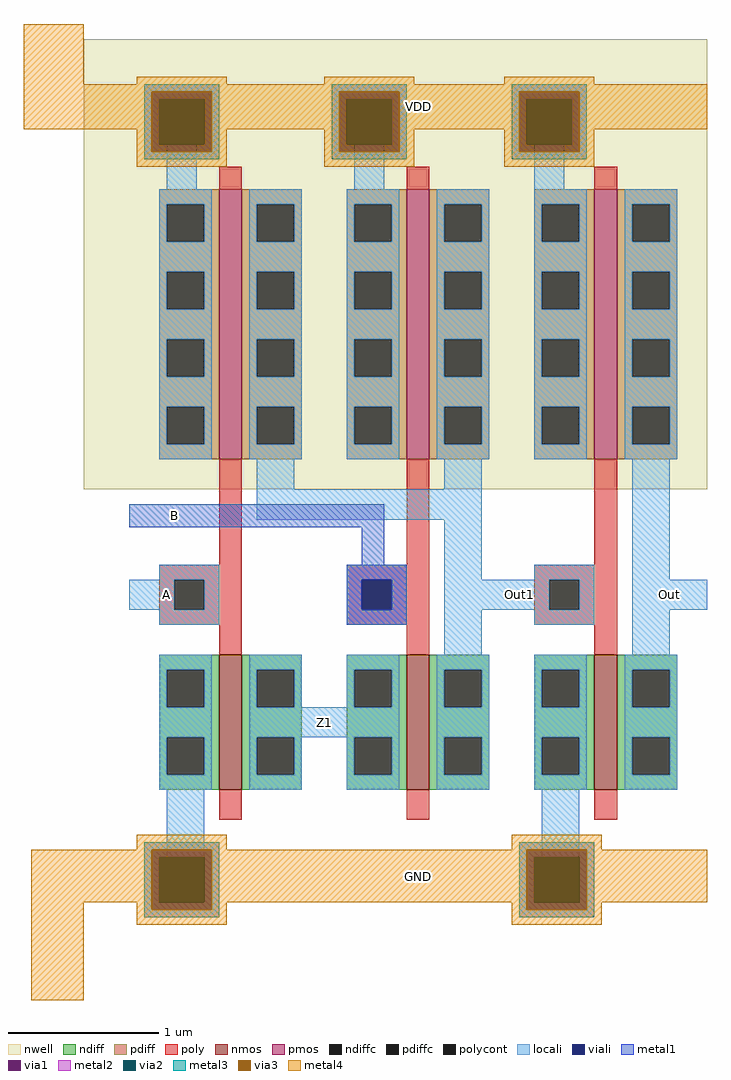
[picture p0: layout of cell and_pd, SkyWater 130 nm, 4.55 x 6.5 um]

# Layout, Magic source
magic
tech sky130A
<< nwell >>
rect -80 -35 335 265
<< nmos >>
rect 10 -235 25 -145
rect 135 -235 150 -145
rect 260 -235 275 -145
<< pmos >>
rect 10 -15 25 165
rect 135 -15 150 165
rect 260 -15 275 165
<< ndiff >>
rect -30 -155 10 -145
rect -30 -180 -25 -155
rect 0 -180 10 -155
rect -30 -200 10 -180
rect -30 -225 -25 -200
rect 0 -225 10 -200
rect -30 -235 10 -225
rect 25 -155 65 -145
rect 25 -180 35 -155
rect 60 -180 65 -155
rect 25 -200 65 -180
rect 25 -225 35 -200
rect 60 -225 65 -200
rect 25 -235 65 -225
rect 95 -155 135 -145
rect 95 -180 100 -155
rect 125 -180 135 -155
rect 95 -200 135 -180
rect 95 -225 100 -200
rect 125 -225 135 -200
rect 95 -235 135 -225
rect 150 -155 190 -145
rect 150 -180 160 -155
rect 185 -180 190 -155
rect 150 -200 190 -180
rect 150 -225 160 -200
rect 185 -225 190 -200
rect 150 -235 190 -225
rect 220 -155 260 -145
rect 220 -180 225 -155
rect 250 -180 260 -155
rect 220 -200 260 -180
rect 220 -225 225 -200
rect 250 -225 260 -200
rect 220 -235 260 -225
rect 275 -155 315 -145
rect 275 -180 285 -155
rect 310 -180 315 -155
rect 275 -200 315 -180
rect 275 -225 285 -200
rect 310 -225 315 -200
rect 275 -235 315 -225
<< pdiff >>
rect -30 155 10 165
rect -30 130 -25 155
rect 0 130 10 155
rect -30 110 10 130
rect -30 85 -25 110
rect 0 85 10 110
rect -30 65 10 85
rect -30 40 -25 65
rect 0 40 10 65
rect -30 20 10 40
rect -30 -5 -25 20
rect 0 -5 10 20
rect -30 -15 10 -5
rect 25 155 65 165
rect 25 130 35 155
rect 60 130 65 155
rect 25 110 65 130
rect 25 85 35 110
rect 60 85 65 110
rect 25 65 65 85
rect 25 40 35 65
rect 60 40 65 65
rect 25 20 65 40
rect 25 -5 35 20
rect 60 -5 65 20
rect 25 -15 65 -5
rect 95 155 135 165
rect 95 130 100 155
rect 125 130 135 155
rect 95 110 135 130
rect 95 85 100 110
rect 125 85 135 110
rect 95 65 135 85
rect 95 40 100 65
rect 125 40 135 65
rect 95 20 135 40
rect 95 -5 100 20
rect 125 -5 135 20
rect 95 -15 135 -5
rect 150 155 190 165
rect 150 130 160 155
rect 185 130 190 155
rect 150 110 190 130
rect 150 85 160 110
rect 185 85 190 110
rect 150 65 190 85
rect 150 40 160 65
rect 185 40 190 65
rect 150 20 190 40
rect 150 -5 160 20
rect 185 -5 190 20
rect 150 -15 190 -5
rect 220 155 260 165
rect 220 130 225 155
rect 250 130 260 155
rect 220 110 260 130
rect 220 85 225 110
rect 250 85 260 110
rect 220 65 260 85
rect 220 40 225 65
rect 250 40 260 65
rect 220 20 260 40
rect 220 -5 225 20
rect 250 -5 260 20
rect 220 -15 260 -5
rect 275 155 315 165
rect 275 130 285 155
rect 310 130 315 155
rect 275 110 315 130
rect 275 85 285 110
rect 310 85 315 110
rect 275 65 315 85
rect 275 40 285 65
rect 310 40 315 65
rect 275 20 315 40
rect 275 -5 285 20
rect 310 -5 315 20
rect 275 -15 315 -5
<< ndiffc >>
rect -25 -180 0 -155
rect -25 -225 0 -200
rect 35 -180 60 -155
rect 35 -225 60 -200
rect 100 -180 125 -155
rect 100 -225 125 -200
rect 160 -180 185 -155
rect 160 -225 185 -200
rect 225 -180 250 -155
rect 225 -225 250 -200
rect 285 -180 310 -155
rect 285 -225 310 -200
<< pdiffc >>
rect -25 130 0 155
rect -25 85 0 110
rect -25 40 0 65
rect -25 -5 0 20
rect 35 130 60 155
rect 35 85 60 110
rect 35 40 60 65
rect 35 -5 60 20
rect 100 130 125 155
rect 100 85 125 110
rect 100 40 125 65
rect 100 -5 125 20
rect 160 130 185 155
rect 160 85 185 110
rect 160 40 185 65
rect 160 -5 185 20
rect 225 130 250 155
rect 225 85 250 110
rect 225 40 250 65
rect 225 -5 250 20
rect 285 130 310 155
rect 285 85 310 110
rect 285 40 310 65
rect 285 -5 310 20
<< poly >>
rect 10 165 25 180
rect 135 165 150 180
rect 260 165 275 180
rect 10 -85 25 -15
rect 135 -85 150 -15
rect 260 -85 275 -15
rect -30 -95 25 -85
rect -30 -115 -20 -95
rect 0 -115 25 -95
rect -30 -125 25 -115
rect 95 -95 150 -85
rect 95 -115 105 -95
rect 125 -115 150 -95
rect 95 -125 150 -115
rect 220 -95 275 -85
rect 220 -115 230 -95
rect 250 -115 275 -95
rect 220 -125 275 -115
rect 10 -145 25 -125
rect 135 -145 150 -125
rect 260 -145 275 -125
rect 10 -255 25 -235
rect 135 -255 150 -235
rect 260 -255 275 -235
<< polycont >>
rect -20 -115 0 -95
rect 105 -115 125 -95
rect 230 -115 250 -95
<< locali >>
rect -25 165 -5 200
rect 100 165 120 200
rect 220 165 240 200
rect -30 155 5 165
rect -30 130 -25 155
rect 0 130 5 155
rect -30 110 5 130
rect -30 85 -25 110
rect 0 85 5 110
rect -30 65 5 85
rect -30 40 -25 65
rect 0 40 5 65
rect -30 20 5 40
rect -30 -5 -25 20
rect 0 -5 5 20
rect -30 -15 5 -5
rect 30 155 65 165
rect 30 130 35 155
rect 60 130 65 155
rect 30 110 65 130
rect 30 85 35 110
rect 60 85 65 110
rect 30 65 65 85
rect 30 40 35 65
rect 60 40 65 65
rect 30 20 65 40
rect 30 -5 35 20
rect 60 -5 65 20
rect 30 -15 65 -5
rect 95 155 130 165
rect 95 130 100 155
rect 125 130 130 155
rect 95 110 130 130
rect 95 85 100 110
rect 125 85 130 110
rect 95 65 130 85
rect 95 40 100 65
rect 125 40 130 65
rect 95 20 130 40
rect 95 -5 100 20
rect 125 -5 130 20
rect 95 -15 130 -5
rect 155 155 190 165
rect 155 130 160 155
rect 185 130 190 155
rect 155 110 190 130
rect 155 85 160 110
rect 185 85 190 110
rect 155 65 190 85
rect 155 40 160 65
rect 185 40 190 65
rect 155 20 190 40
rect 155 -5 160 20
rect 185 -5 190 20
rect 155 -15 190 -5
rect 220 155 255 165
rect 220 130 225 155
rect 250 130 255 155
rect 220 110 255 130
rect 220 85 225 110
rect 250 85 255 110
rect 220 65 255 85
rect 220 40 225 65
rect 250 40 255 65
rect 220 20 255 40
rect 220 -5 225 20
rect 250 -5 255 20
rect 220 -15 255 -5
rect 280 155 315 165
rect 280 130 285 155
rect 310 130 315 155
rect 280 110 315 130
rect 280 85 285 110
rect 310 85 315 110
rect 280 65 315 85
rect 280 40 285 65
rect 310 40 315 65
rect 280 20 315 40
rect 280 -5 285 20
rect 310 -5 315 20
rect 280 -15 315 -5
rect 35 -35 60 -15
rect 160 -35 185 -15
rect 35 -55 185 -35
rect -30 -95 10 -85
rect -50 -115 -20 -95
rect 0 -115 10 -95
rect -30 -125 10 -115
rect 95 -95 135 -85
rect 95 -115 105 -95
rect 125 -115 135 -95
rect 95 -125 135 -115
rect 160 -95 185 -55
rect 220 -95 260 -85
rect 160 -115 230 -95
rect 250 -115 260 -95
rect 160 -145 185 -115
rect 220 -125 260 -115
rect 285 -95 310 -15
rect 285 -115 335 -95
rect 285 -145 310 -115
rect -30 -155 5 -145
rect -30 -180 -25 -155
rect 0 -180 5 -155
rect -30 -200 5 -180
rect -30 -225 -25 -200
rect 0 -225 5 -200
rect -30 -235 5 -225
rect 30 -155 65 -145
rect 30 -180 35 -155
rect 60 -180 65 -155
rect 95 -155 130 -145
rect 95 -180 100 -155
rect 125 -180 130 -155
rect 30 -200 130 -180
rect 30 -225 35 -200
rect 60 -225 65 -200
rect 30 -235 65 -225
rect 95 -225 100 -200
rect 125 -225 130 -200
rect 95 -235 130 -225
rect 155 -155 190 -145
rect 155 -180 160 -155
rect 185 -180 190 -155
rect 155 -200 190 -180
rect 155 -225 160 -200
rect 185 -225 190 -200
rect 155 -235 190 -225
rect 220 -155 255 -145
rect 220 -180 225 -155
rect 250 -180 255 -155
rect 220 -200 255 -180
rect 220 -225 225 -200
rect 250 -225 255 -200
rect 220 -235 255 -225
rect 280 -155 315 -145
rect 280 -180 285 -155
rect 310 -180 315 -155
rect 280 -200 315 -180
rect 280 -225 285 -200
rect 310 -225 315 -200
rect 280 -235 315 -225
rect -25 -285 0 -235
rect -5 -295 0 -285
rect 225 -285 250 -235
rect 245 -295 250 -285
<< viali >>
rect -25 200 -5 220
rect 100 200 120 220
rect 220 200 240 220
rect 105 -115 125 -95
rect -25 -305 -5 -285
rect 225 -305 245 -285
<< metal1 >>
rect -35 225 5 230
rect -35 195 -30 225
rect 0 195 5 225
rect -35 190 5 195
rect 90 225 130 230
rect 90 195 95 225
rect 125 195 130 225
rect 90 190 130 195
rect 210 225 250 230
rect 210 195 215 225
rect 245 195 250 225
rect 210 190 250 195
rect -50 -60 120 -45
rect 105 -85 120 -60
rect 95 -95 135 -85
rect 95 -115 105 -95
rect 125 -115 135 -95
rect 95 -125 135 -115
rect -35 -280 5 -275
rect -35 -310 -30 -280
rect 0 -310 5 -280
rect -35 -315 5 -310
rect 215 -280 255 -275
rect 215 -310 220 -280
rect 250 -310 255 -280
rect 215 -315 255 -310
<< via1 >>
rect -30 220 0 225
rect -30 200 -25 220
rect -25 200 -5 220
rect -5 200 0 220
rect -30 195 0 200
rect 95 220 125 225
rect 95 200 100 220
rect 100 200 120 220
rect 120 200 125 220
rect 95 195 125 200
rect 215 220 245 225
rect 215 200 220 220
rect 220 200 240 220
rect 240 200 245 220
rect 215 195 245 200
rect -30 -285 0 -280
rect -30 -305 -25 -285
rect -25 -305 -5 -285
rect -5 -305 0 -285
rect -30 -310 0 -305
rect 220 -285 250 -280
rect 220 -305 225 -285
rect 225 -305 245 -285
rect 245 -305 250 -285
rect 220 -310 250 -305
<< metal2 >>
rect -40 225 10 235
rect -40 195 -30 225
rect 0 195 10 225
rect -40 185 10 195
rect 85 225 135 235
rect 85 195 95 225
rect 125 195 135 225
rect 85 185 135 195
rect 205 225 255 235
rect 205 195 215 225
rect 245 195 255 225
rect 205 185 255 195
rect -40 -280 10 -270
rect -40 -310 -30 -280
rect 0 -310 10 -280
rect -40 -320 10 -310
rect 210 -280 260 -270
rect 210 -310 220 -280
rect 250 -310 260 -280
rect 210 -320 260 -310
<< via2 >>
rect -30 195 0 225
rect 95 195 125 225
rect 215 195 245 225
rect -30 -310 0 -280
rect 220 -310 250 -280
<< metal3 >>
rect -40 230 10 235
rect -40 190 -35 230
rect 5 190 10 230
rect -40 185 10 190
rect 85 230 135 235
rect 85 190 90 230
rect 130 190 135 230
rect 85 185 135 190
rect 205 230 255 235
rect 205 190 210 230
rect 250 190 255 230
rect 205 185 255 190
rect -40 -275 10 -270
rect -40 -315 -35 -275
rect 5 -315 10 -275
rect -40 -320 10 -315
rect 210 -275 260 -270
rect 210 -315 215 -275
rect 255 -315 260 -275
rect 210 -320 260 -315
<< via3 >>
rect -35 225 5 230
rect -35 195 -30 225
rect -30 195 0 225
rect 0 195 5 225
rect -35 190 5 195
rect 90 225 130 230
rect 90 195 95 225
rect 95 195 125 225
rect 125 195 130 225
rect 90 190 130 195
rect 210 225 250 230
rect 210 195 215 225
rect 215 195 245 225
rect 245 195 250 225
rect 210 190 250 195
rect -35 -280 5 -275
rect -35 -310 -30 -280
rect -30 -310 0 -280
rect 0 -310 5 -280
rect -35 -315 5 -310
rect 215 -280 255 -275
rect 215 -310 220 -280
rect 220 -310 250 -280
rect 250 -310 255 -280
rect 215 -315 255 -310
<< metal4 >>
rect -120 235 -80 275
rect -45 235 15 240
rect 80 235 140 240
rect 200 235 260 240
rect -120 230 335 235
rect -120 205 -35 230
rect -45 190 -35 205
rect 5 205 90 230
rect 5 190 15 205
rect -45 180 15 190
rect 80 190 90 205
rect 130 205 210 230
rect 130 190 140 205
rect 80 180 140 190
rect 200 190 210 205
rect 250 205 335 230
rect 250 190 260 205
rect 200 180 260 190
rect -45 -275 15 -265
rect 205 -275 265 -265
rect -115 -310 -35 -275
rect -115 -375 -80 -310
rect -45 -315 -35 -310
rect 5 -310 215 -275
rect 5 -315 15 -310
rect -45 -325 15 -315
rect 205 -315 215 -310
rect 255 -310 335 -275
rect 255 -315 265 -310
rect 205 -325 265 -315
<< labels >>
rlabel nwell -50 205 335 235 1 VDD
rlabel metal4 -50 -310 335 -275 1 GND
rlabel locali 65 -200 95 -180 1 Z1
rlabel locali 160 -115 260 -95 1 Out1
rlabel locali 285 -115 335 -95 1 Out
rlabel locali -50 -115 0 -95 1 A
rlabel metal1 -50 -60 10 -45 1 B
<< end >>
